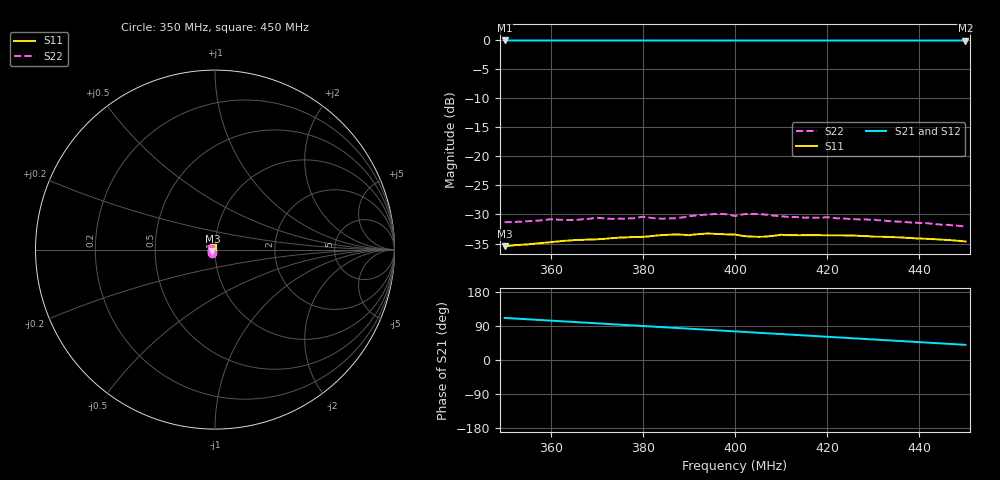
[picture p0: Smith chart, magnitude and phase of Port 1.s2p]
! RsaToolbox (C) 2014 Rohde & Schwarz America
! Number of points: 101
! Number of ports: 2
! Balanced ports?: No
# Hz S RI R 50
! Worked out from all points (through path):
!   101 points, 350 MHz to 450 MHz, reference 50 ohm
!   highest |S21| = -0.11 dB at 350 MHz (marker M1); lowest = -0.1 dB at 450 MHz (marker M2)
!   group delay of S21, straight-line fit = 1.97 ns
!   lowest |S11| = -35.5 dB at 350 MHz (marker M3), VSWR 1.03, Z = 48.5 - j0.792 ohm
!   |S11| at or under -10 dB: start of sweep to end of sweep
!   |S22| runs from -32.1 to -29.9 dB; largest |S21 - S12| = 0
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3.5e8  -0.0148 -0.00815  -0.3543 0.9214  -0.3543 0.9214  -0.0174 -0.0208
3.6e8  -0.0172 -0.00634  -0.2375 0.958  -0.2375 0.958  -0.0212 -0.0195
3.64e8  -0.0179 -0.00592  -0.1897 0.9685  -0.1897 0.9685  -0.0219 -0.018
3.67e8  -0.0184 -0.00518  -0.1536 0.9749  -0.1536 0.9749  -0.0229 -0.0174
3.7e8  -0.0189 -0.00407  -0.1173 0.9798  -0.1173 0.9798  -0.0242 -0.0171
3.73e8  -0.0194 -0.00375  -0.0808 0.9834  -0.0808 0.9834  -0.0244 -0.0157
3.77e8  -0.02 -0.00275  -0.032 0.9861  -0.032 0.9861  -0.0254 -0.0144
3.8e8  -0.0202 -0.00142  0.00474 0.9866  0.00474 0.9866  -0.0268 -0.014
3.84e8  -0.021 -0.000833  0.0535 0.985  0.0535 0.985  -0.0264 -0.0123
3.87e8  -0.0213 0.000224  0.0901 0.9824  0.0901 0.9824  -0.0269 -0.0116
3.9e8  -0.0209 0.00157  0.1266 0.9782  0.1266 0.9782  -0.0287 -0.0105
3.94e8  -0.0214 0.00368  0.1749 0.9707  0.1749 0.9707  -0.0296 -0.0109
3.96e8  -0.021 0.00436  0.1989 0.966  0.1989 0.966  -0.0303 -0.00996
3.98e8  -0.0208 0.00476  0.2228 0.9607  0.2228 0.9607  -0.0305 -0.00871
4e8  -0.0207 0.00467  0.2465 0.9549  0.2465 0.9549  -0.0298 -0.00695
4.02e8  -0.0199 0.00542  0.2701 0.9485  0.2701 0.9485  -0.0313 -0.00569
4.05e8  -0.0194 0.00608  0.3051 0.9377  0.3051 0.9377  -0.0317 -0.004
4.1e8  -0.0198 0.00754  0.3626 0.917  0.3626 0.917  -0.0303 -0.0032
4.17e8  -0.0189 0.00913  0.4406 0.882  0.4406 0.882  -0.0296 -5.6e-06
4.2e8  -0.0182 0.0103  0.473 0.865  0.473 0.865  -0.03 0.000524
4.34e8  -0.0154 0.0131  0.6151 0.7703  0.6151 0.7703  -0.0271 0.00528
4.5e8  -0.0108 0.0151  0.7546 0.634  0.7546 0.634  -0.0227 0.0102
